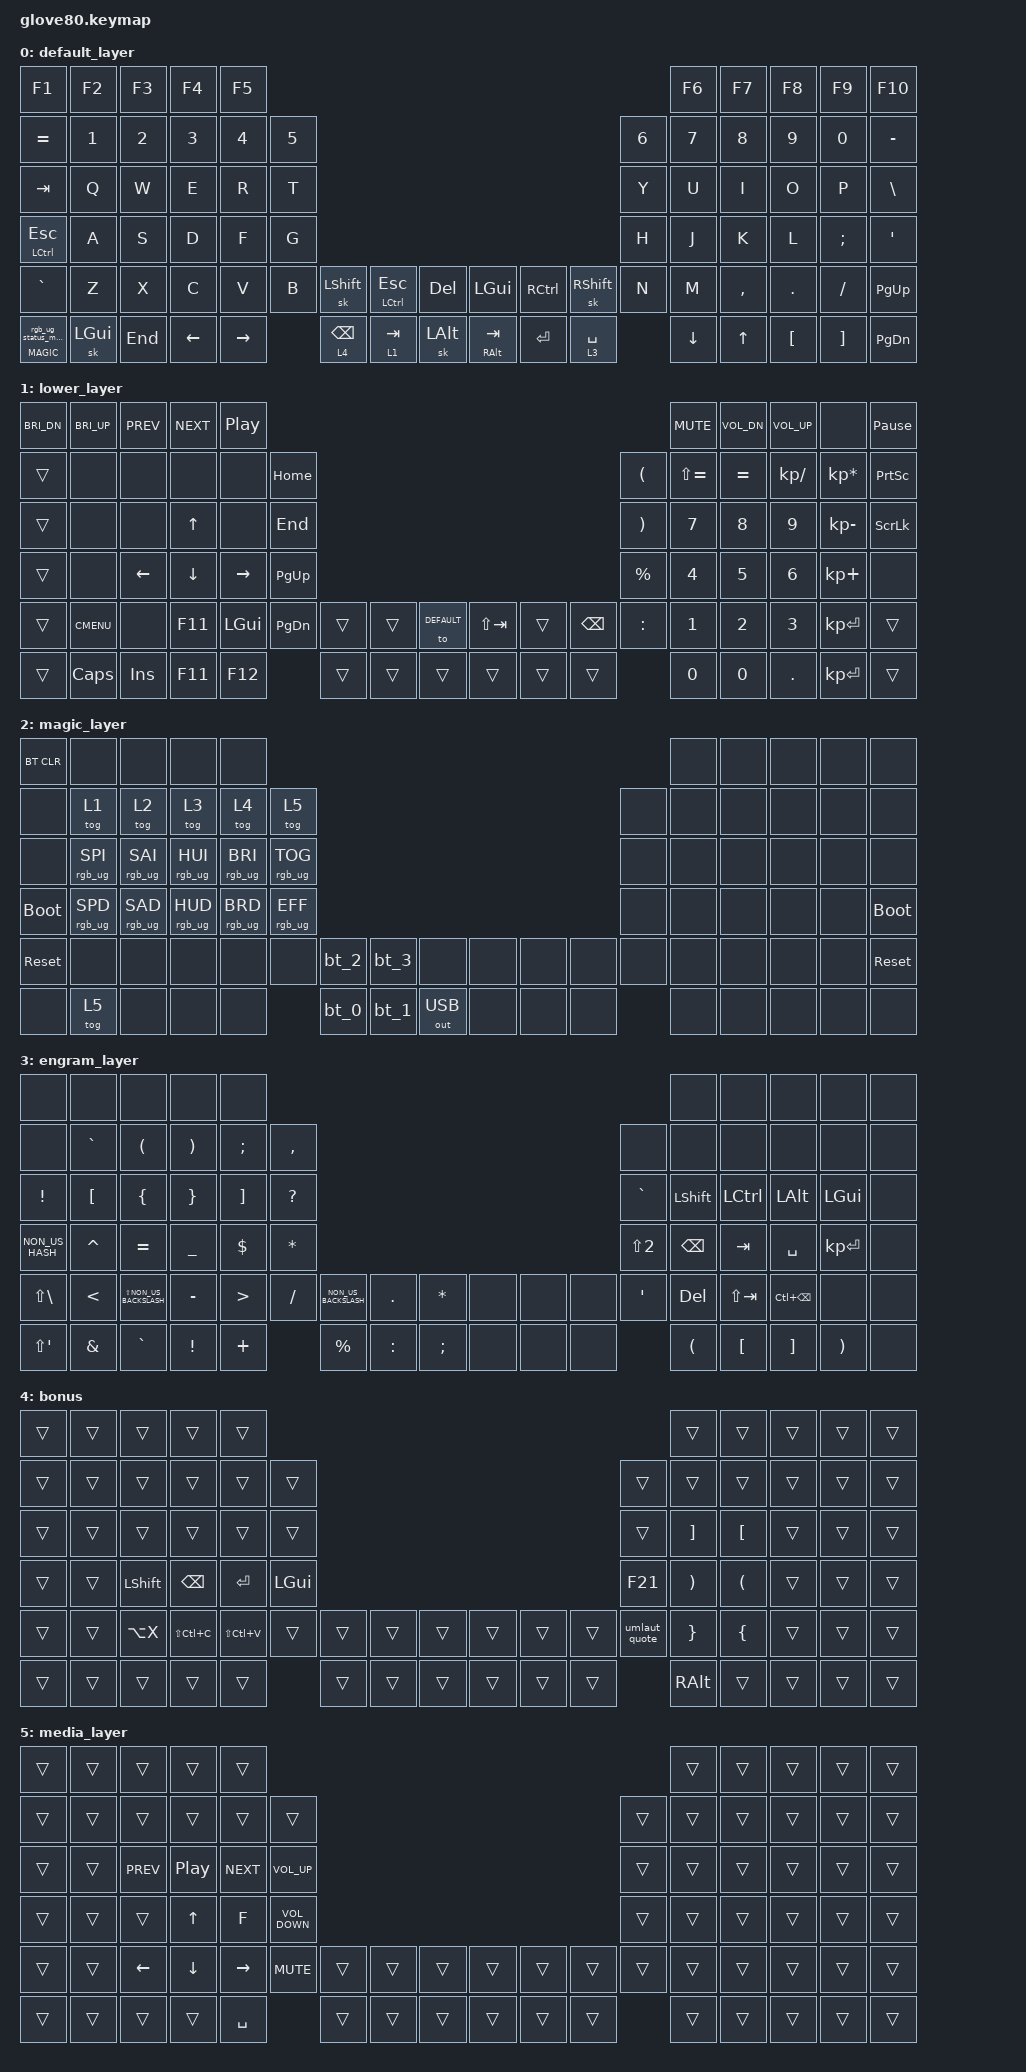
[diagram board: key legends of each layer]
/*
 * Copyright (c) 2020 The ZMK Contributors
 *
 * SPDX-License-Identifier: MIT
 */

#include <behaviors.dtsi>
#include <dt-bindings/zmk/bt.h>
#include <dt-bindings/zmk/keys.h>
#include <dt-bindings/zmk/outputs.h>
#include <dt-bindings/zmk/rgb.h>

// layers

#define DEFAULT 0
#define LOWER 1
#define MAGIC 2
#define ENGRAM 3
#define COMBO_KEY_CAPS_WORD <52 57>

&caps_word { continue-list = <UNDERSCORE MINUS BSPC>; };

&sk {
    quick-release;
    lazy;
};

/ {
    behaviors {
        // For the "layer" key, it'd nice to be able to use it as either a shift or a toggle.
        // Configure it as a tap dance, so the first tap (or hold) is a &mo and the second tap is a &to

        layer_td: tap_dance_0 {
            compatible = "zmk,behavior-tap-dance";
            #binding-cells = <0>;
            tapping-term-ms = <200>;
            bindings = <&mo LOWER>, <&to LOWER>;
        };

        magic: magic_hold_tap {
            compatible = "zmk,behavior-hold-tap";
            label = "MAGIC_HOLD_TAP";
            #binding-cells = <2>;
            flavor = "tap-preferred";
            tapping-term-ms = <200>;
            bindings = <&mo>, <&rgb_ug_status_macro>;
        };
    };

    combos {
        compatible = "zmk,combos";

        // Turn on CAPS_WORD when pressing both shift keys together

        combo_caps_word {
            timeout-ms = <75>;
            key-positions =
            COMBO_KEY_CAPS_WORD;
            layers = <0>;
            bindings = <&caps_word>;
        };

        combo_ctrl_a {
            timeout-ms = <75>;
            key-positions = <69 74>;
            layers = <0>;
            bindings = <&kp LC(A)>;
        };
    };

    macros {
        rgb_ug_status_macro: rgb_ug_status_macro_0 {
            label = "RGB_UG_STATUS";
            compatible = "zmk,behavior-macro";
            #binding-cells = <0>;
            bindings = <&rgb_ug RGB_STATUS>;
        };

        bt_0: bt_profile_macro_0 {
            compatible = "zmk,behavior-macro";
            #binding-cells = <0>;
            bindings = <&out OUT_BLE &bt BT_SEL 0>;
        };

        bt_1: bt_profile_macro_1 {
            compatible = "zmk,behavior-macro";
            #binding-cells = <0>;
            bindings = <&out OUT_BLE &bt BT_SEL 1>;
        };

        bt_2: bt_profile_macro_2 {
            compatible = "zmk,behavior-macro";
            #binding-cells = <0>;
            bindings = <&out OUT_BLE &bt BT_SEL 2>;
        };

        bt_3: bt_profile_macro_3 {
            compatible = "zmk,behavior-macro";
            #binding-cells = <0>;
            bindings = <&out OUT_BLE &bt BT_SEL 3>;
        };

        umlaut_quote: macro_umlaut_quote {
            compatible = "zmk,behavior-macro";
            label = "MACRO_UMLAUT_QUOTE";
            #binding-cells = <0>;
            bindings = <&kp RALT &kp LS(NUMBER_2)>;
            wait-ms = <10>;
        };
    };

    keymap {
        compatible = "zmk,keymap";

        default_layer {
            // ---------------------------------------------------------------------------------------------------------------------------------
            // |  F1   |  F2 |  F3 |  F4  |  F5  |                                                               |  F6   |  F7   |  F8  |   F9  |  F10 |
            // |  =    |  1  |  2  |  3   |  4   |  5   |                                                 |  6   |   7   |   8   |  9   |   0   |   -  |
            // |  TAB  |  Q  |  W  |  E   |  R   |  T   |                                                 |  Y   |   U   |   I   |  O   |   P   |   \  |
            // |  ESC  |  A  |  S  |  D   |  F   |  G   |                                                 |  H   |   J   |   K   |  L   |   ;   |   '  |
            // |   `   |  Z  |  X  |  C   |  V   |  B   | LSHFT | LCTRL | LOWER | | LGUI  | RCTRL | RSHFT |  N   |   M   |   ,   |  .   |   /   | PGUP |
            // | MAGIC | HOME| END | LEFT | RIGHT|      | BSPC  | DEL   | LALT  | | RALT  | RET   | SPACE |      |  UP   | DOWN  |  [   |   ]   | PGDN |

            bindings = <
&kp F1            &kp F2    &kp F3   &kp F4    &kp F5                                                                                                       &kp F6    &kp F7        &kp F8    &kp F9    &kp F10
&kp EQUAL         &kp N1    &kp N2   &kp N3    &kp N4     &kp N5                                                                                    &kp N6  &kp N7    &kp N8        &kp N9    &kp N0    &kp MINUS
&kp TAB           &kp Q     &kp W    &kp E     &kp R      &kp T                                                                                     &kp Y   &kp U     &kp I         &kp O     &kp P     &kp BSLH
&mt LCTRL ESCAPE  &kp A     &kp S    &kp D     &kp F      &kp G                                                                                     &kp H   &kp J     &kp K         &kp L     &kp SEMI  &kp SQT
&kp GRAVE         &kp Z     &kp X    &kp C     &kp V      &kp B   &sk LSHFT        &mt LCTRL ESC  &kp DEL     &kp LGUI      &kp RCTRL  &sk RSHFT    &kp N   &kp M     &kp COMMA     &kp DOT   &kp FSLH  &kp PG_UP
&magic MAGIC 0    &sk LGUI  &kp END  &kp LEFT  &kp RIGHT          &lt 4 BACKSPACE  &lt 1 TAB      &sk LALT    &mt RALT TAB  &kp RET    &lt 3 SPACE          &kp DOWN  &kp UP_ARROW  &kp LBKT  &kp RBKT  &kp PG_DN
            >;
        };

        lower_layer {
            bindings = <
&kp C_BRI_DN  &kp C_BRI_UP  &kp C_PREV  &kp C_NEXT  &kp C_PP                                                                                               &kp C_MUTE     &kp C_VOL_DN  &kp C_VOL_UP   &none            &kp PAUSE_BREAK
&trans        &none         &none       &none       &none         &kp HOME                                                                      &kp LPAR   &kp LS(EQUAL)  &kp EQUAL     &kp KP_DIVIDE  &kp KP_MULTIPLY  &kp PSCRN
&trans        &none         &none       &kp UP      &none         &kp END                                                                       &kp RPAR   &kp NUMBER_7   &kp N8        &kp N9         &kp KP_MINUS     &kp SLCK
&trans        &none         &kp LEFT    &kp DOWN    &kp RIGHT     &kp PG_UP                                                                     &kp PRCNT  &kp NUMBER_4   &kp N5        &kp NUMBER_6   &kp KP_PLUS      &none
&trans        &kp K_CMENU   &none       &kp F11     &kp LEFT_GUI  &kp PG_DN  &trans  &trans  &to DEFAULT    &kp LS(TAB)  &trans  &kp BACKSPACE  &kp COLON  &kp NUMBER_1   &kp NUMBER_2  &kp N3         &kp KP_ENTER     &trans
&trans        &kp CAPS      &kp INS     &kp F11     &kp F12                  &trans  &trans  &trans         &trans       &trans  &trans                    &kp N0         &kp NUMBER_0  &kp DOT        &kp KP_ENTER     &trans
            >;
        };

        magic_layer {
            bindings = <
&bt BT_CLR   &none            &none            &none            &none                                                                                       &none  &none  &none  &none  &none
&none        &tog 1           &tog 2           &tog 3           &tog 4           &tog 5                                                              &none  &none  &none  &none  &none  &none
&none        &rgb_ug RGB_SPI  &rgb_ug RGB_SAI  &rgb_ug RGB_HUI  &rgb_ug RGB_BRI  &rgb_ug RGB_TOG                                                     &none  &none  &none  &none  &none  &none
&bootloader  &rgb_ug RGB_SPD  &rgb_ug RGB_SAD  &rgb_ug RGB_HUD  &rgb_ug RGB_BRD  &rgb_ug RGB_EFF                                                     &none  &none  &none  &none  &none  &bootloader
&sys_reset   &none            &none            &none            &none            &none            &bt_2  &bt_3  &none           &none  &none  &none  &none  &none  &none  &none  &none  &sys_reset
&none        &tog 5           &none            &none            &none                             &bt_0  &bt_1  &out OUT_USB    &none  &none  &none         &none  &none  &none  &none  &none
            >;
        };

        engram_layer {
            bindings = <
&none            &none      &none                     &none           &none                                                                                                              &none          &none        &none              &none         &none
&none            &kp GRAVE  &kp LPAR                  &kp RPAR        &kp SEMI    &kp COMMA                                                                            &none             &none          &none        &none              &none         &none
&kp EXCL         &kp LBKT   &kp LBRC                  &kp RBRC        &kp RBKT    &kp QUESTION                                                                         &kp GRAVE         &kp LSHIFT     &kp LCTRL    &kp LEFT_ALT       &kp LEFT_GUI  &none
&kp NON_US_HASH  &kp CARET  &kp EQUAL                 &kp UNDERSCORE  &kp DOLLAR  &kp ASTERISK                                                                         &kp LS(NUMBER_2)  &kp BACKSPACE  &kp TAB      &kp SPACE          &kp KP_ENTER  &none
&kp LS(BSLH)     &kp LT     &kp LS(NON_US_BACKSLASH)  &kp MINUS       &kp GT      &kp FSLH      &kp NON_US_BACKSLASH  &kp DOT    &kp ASTERISK     &none  &none  &none  &kp SQT           &kp DEL        &kp LS(TAB)  &kp LC(BACKSPACE)  &none         &none
&kp LS(APOS)     &kp AMPS   &kp GRAVE                 &kp EXCL        &kp PLUS                  &kp PERCENT           &kp COLON  &kp SEMICOLON    &none  &none  &none                    &kp LPAR       &kp LBKT     &kp RBKT           &kp RPAR      &none
            >;
        };

        bonus {
            bindings = <
&trans  &trans  &trans          &trans         &trans                                                                                    &trans                 &trans                &trans  &trans  &trans
&trans  &trans  &trans          &trans         &trans         &trans                                                      &trans         &trans                 &trans                &trans  &trans  &trans
&trans  &trans  &trans          &trans         &trans         &trans                                                      &trans         &kp RBKT               &kp LBKT              &trans  &trans  &trans
&trans  &trans  &kp LEFT_SHIFT  &kp BACKSPACE  &kp ENTER      &kp LGUI                                                    &kp F21        &kp RIGHT_PARENTHESIS  &kp LEFT_PARENTHESIS  &trans  &trans  &trans
&trans  &trans  &kp LA(X)       &kp LS(LC(C))  &kp LS(LC(V))  &trans    &trans  &trans  &trans    &trans  &trans  &trans  &umlaut_quote  &kp RBRC               &kp LBRC              &trans  &trans  &trans
&trans  &trans  &trans          &trans         &trans                   &trans  &trans  &trans    &trans  &trans  &trans                 &kp RIGHT_ALT          &trans                &trans  &trans  &trans
            >;
        };

        media_layer {
            bindings = <
&trans  &trans  &trans      &trans          &trans                                                                                   &trans  &trans  &trans  &trans  &trans
&trans  &trans  &trans      &trans          &trans      &trans                                                               &trans  &trans  &trans  &trans  &trans  &trans
&trans  &trans  &kp C_PREV  &kp C_PP        &kp C_NEXT  &kp C_VOL_UP                                                         &trans  &trans  &trans  &trans  &trans  &trans
&trans  &trans  &trans      &kp UP_ARROW    &kp F       &kp C_VOLUME_DOWN                                                    &trans  &trans  &trans  &trans  &trans  &trans
&trans  &trans  &kp LEFT    &kp DOWN_ARROW  &kp RIGHT   &kp C_MUTE         &trans  &trans  &trans    &trans  &trans  &trans  &trans  &trans  &trans  &trans  &trans  &trans
&trans  &trans  &trans      &trans          &kp SPACE                      &trans  &trans  &trans    &trans  &trans  &trans          &trans  &trans  &trans  &trans  &trans
            >;
        };
    };
};
